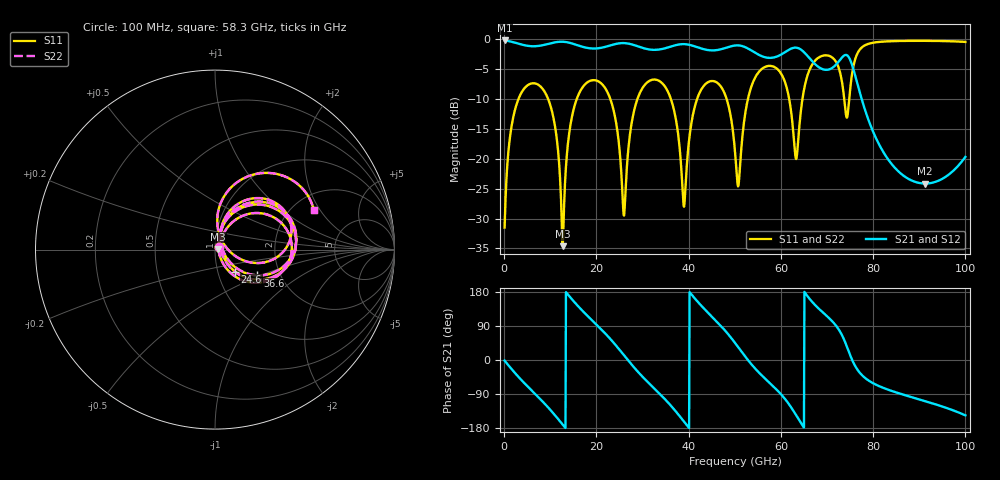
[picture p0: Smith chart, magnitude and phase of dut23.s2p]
! Touchstone file exported from HFSS 2026.1.0
!  File:  C:/ffzhzh/LocalFiles/Ansys_Project_Files/temp_train_TSV_RDL_23_1783439457_7600.aedt
!  Generated:  12:06:48 AM Jul  8, 2026
!  Design:  TSV_RDL
!  Project:  temp_train_TSV_RDL_23_1783439457_7600
! Variables:
!  h_bsmrdl = 2.1um
!  h_ox = 20um
!  h_rdl = 5um
!  h_sub = 77.53um
!  h_tmrdl = 4.53um
!  h_tsv = 77.53um
!  h_via = 3um
!  l_bsmrdl = 602.31um
!  l_sub = 4324.88um
!  l_tmrdl = 499.24um
!  m_sub = 200um
!  pitch = 43.56um
!  r_tsv = 13.88um
!  s_tmrdl = 10um
!  w_bsmrdl = 22.01um
!  w_sub = 500um
!  w_tmrdl = 18.32um
!  x_tsv_center1 = 508.4um
!  x_tsv_center2 = 1132.72um
!  x_tsv_center3 = 1650.28um
!  x_tsv_center4 = 2274.6um
!  x_tsv_center5 = 2792.16um
!  x_tsv_center6 = 3416.48um
# GHz S MA R 50.000000
! Terminal data exported
! Port[1] = TM_RDL1_1_T1
! Port[2] = TM_RDL5_1_T1
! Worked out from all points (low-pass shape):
!   1000 points, 100 MHz to 100 GHz, reference 50 ohm
!   highest |S21| = -0.20 dB at 100 MHz (marker M1); lowest = -24.1 dB at 91.3 GHz (marker M2)
!   |S21| within 3 dB of the highest: start of sweep to 66.24 GHz; 73.08 GHz to 74.87 GHz (1.791 GHz wide, 2.42 % of centre)
!   lowest |S11| = -34.6 dB at 12.7 GHz (marker M3), VSWR 1.04, Z = 51.8 + j0.398 ohm
!   |S11| at or under -10 dB: 9.538 GHz to 15.74 GHz (6.204 GHz wide, 49.1 % of centre); 23.02 GHz to 28.9 GHz (5.878 GHz wide, 22.6 % of centre); 36.15 GHz to 41.83 GHz (5.684 GHz wide, 14.6 % of centre) (the widest 3 of 7)
!   |S22| runs from -34.5 to -0.3 dB; largest |S21 - S12| = 2.6e-14
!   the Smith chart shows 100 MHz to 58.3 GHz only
!   S11 on the Smith chart (normalised r, x): 100 MHz: 1.05, +0.03; 24.6 GHz: 1.21, -0.30; 36.6 GHz: 1.53, -0.48; 58.3 GHz: 2.60, +1.75
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0.1  0.02659 28.8  0.977 -1.6  0.977 -1.6  0.02659 28.8
! Gamma 0 0 0 0
! Port Impedance 50 0 50 0
2.2  0.2437 50.7  0.9398 -32.3  0.9398 -32.3  0.2437 50.7
6.4  0.4283 1.7  0.8737 -85.7  0.8737 -85.7  0.4282 1.7
10.5  0.238 -47.1  0.9331 -138.4  0.9331 -138.4  0.2381 -47.1
12.7  0.01857 11.9  0.9531 -170.6  0.9531 -170.6  0.0188 12.1
16.8  0.3856 38.9  0.8689 132.1  0.8689 132.1  0.3856 38.8
24.6  0.1653 -47.6  0.9198 33.2  0.9198 33.2  0.165 -48.3
26  0.03348 18.3  0.9285 12.3  0.9285 12.3  0.0311 18.8
28.6  0.2916 57.8  0.8824 -25.7  0.8824 -25.7  0.2916 58.3
33.4  0.4526 4.4  0.8186 -85.3  0.8186 -85.3  0.453 4.6
36.6  0.2768 -31.4  0.8796 -126.8  0.8796 -126.8  0.2769 -31.1
39  0.03969 19.4  0.9101 -162.6  0.9101 -162.6  0.0413 19.5
41.3  0.2697 65.1  0.8727 163.0  0.8727 163.0  0.2699 64.9
46.7  0.415 5.7  0.8192 93.7  0.8192 93.7  0.4151 5.6
50.1  0.1086 -15.7  0.887 44.4  0.887 44.4  0.1085 -15.9
58.3  0.5923 21.7  0.7019 -69.0  0.7019 -69.0  0.5923 21.6
63.3  0.09949 31.9  0.8507 -145.6  0.8507 -145.6  0.09872 31.8
66.7  0.606 57.6  0.6607 154.5  0.6607 154.5  0.6057 57.6
74.8  0.3118 60.4  0.6999 19.6  0.6999 19.6  0.3121 60.4
83.4  0.9615 6.9  0.09701 -79.0  0.09701 -79.0  0.9615 6.9
91.3  0.9699 -18.9  0.06207 -108.7  0.06207 -108.7  0.9699 -18.9
100  0.9499 -51.9  0.1037 -146.1  0.1037 -146.1  0.95 -51.9
